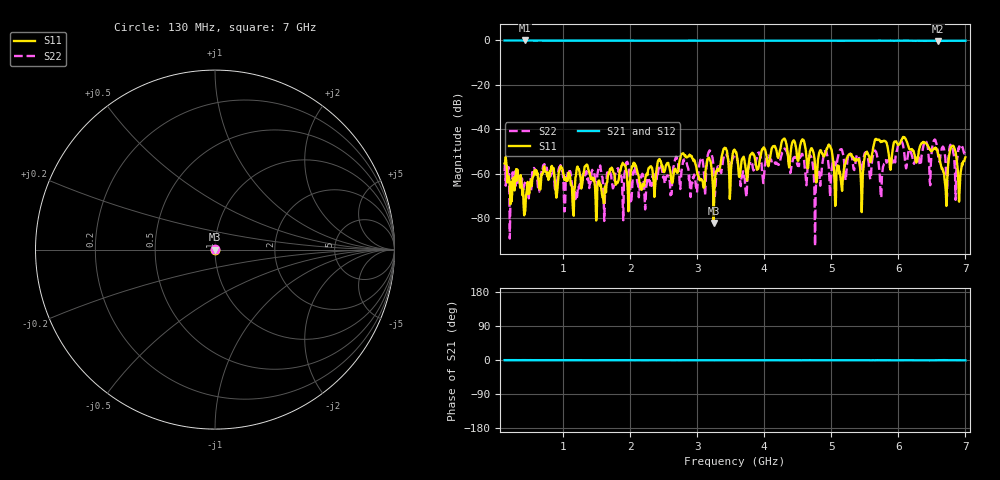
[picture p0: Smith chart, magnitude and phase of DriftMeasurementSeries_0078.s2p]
# Hz S RI R 50.000000
! Metas.Vna.Tools, 2.8.8664.20301
! Metas.Vna.Data, 2.8.8664.20285
! Created: UTC 2024.02.11 10:08:41
! FREQ  re:S1,1  im:S1,1  re:S2,1  im:S2,1  re:S1,2  im:S1,2  re:S2,2  im:S2,2
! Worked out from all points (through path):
!   801 points, 130 MHz to 7 GHz, reference 50 ohm
!   highest |S21| = -0.03 dB at 439.1 MHz (marker M1); lowest = -0.2 dB at 6.596 GHz (marker M2)
!   lowest |S11| = -82.2 dB at 3.247 GHz (marker M3), VSWR 1.00, Z = 50 + j0.00147 ohm
!   |S11| at or under -10 dB: start of sweep to end of sweep
!   |S22| runs from -92.7 to -44.6 dB; largest |S21 - S12| = 0.023
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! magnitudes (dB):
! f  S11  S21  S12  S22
! 130 MHz  -55.4  -0.1  0.0  -58.9
! 439.1 MHz  -76.4  0.0  0.0  -64.0
! 585.1 MHz  -59.3  -0.1  0.0  -58.1
! 1.281 GHz  -65.6  -0.1  0.0  -62.0
! 1.607 GHz  -73.3  -0.1  0.0  -70.4
! 2.423 GHz  -54.1  -0.1  0.0  -58.3
! 3.247 GHz  -82.2  -0.1  0.0  -58.7
! 3.565 GHz  -49.5  -0.1  0.0  -51.2
! 3.711 GHz  -55.2  -0.1  0.0  -62.4
! 3.917 GHz  -57.0  -0.1  0.0  -50.8
! 4.716 GHz  -48.9  -0.1  0.0  -53.8
! 4.973 GHz  -47.2  -0.1  0.0  -62.9
! 5.085 GHz  -56.9  -0.2  0.0  -55.2
! 5.282 GHz  -51.1  -0.2  0.0  -51.2
! 5.454 GHz  -77.4  -0.1  0.0  -58.1
! 5.678 GHz  -44.8  -0.1  0.0  -51.1
! 5.858 GHz  -51.4  -0.1  0.0  -53.9
! 6.596 GHz  -51.9  -0.2  0.0  -53.0
! 6.699 GHz  -65.2  -0.1  0.0  -52.5
! 6.802 GHz  -47.6  -0.1  0.0  -46.9
! 6.906 GHz  -72.6  -0.1  0.0  -48.8
! 7 GHz  -52.7  -0.2  0.0  -51.3
